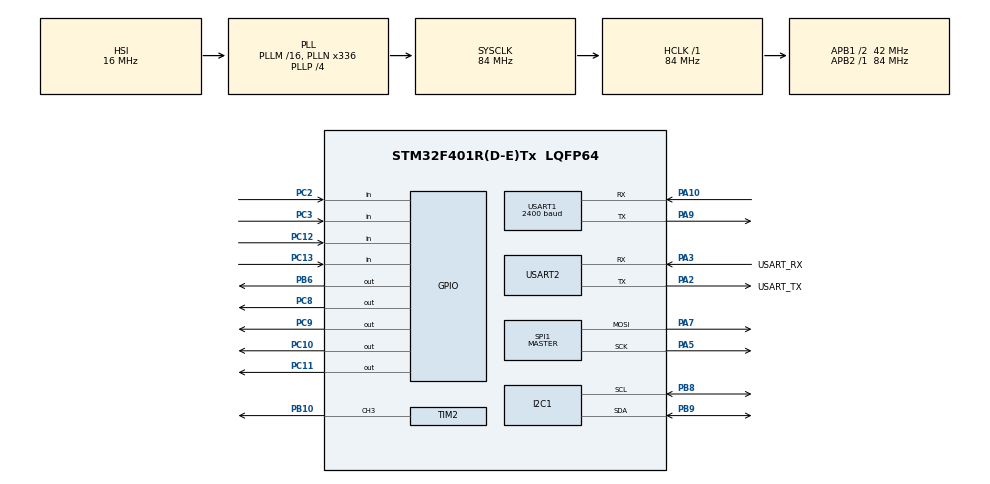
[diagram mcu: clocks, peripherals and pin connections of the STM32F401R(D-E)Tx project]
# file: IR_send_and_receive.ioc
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Dma.Request0=SPI1_TX
Dma.SPI1_TX.0.Direction=DMA_MEMORY_TO_PERIPH
Dma.SPI1_TX.0.FIFOMode=DMA_FIFOMODE_DISABLE
Dma.SPI1_TX.0.Instance=DMA2_Stream3
Dma.SPI1_TX.0.MemDataAlignment=DMA_MDATAALIGN_BYTE
Dma.SPI1_TX.0.MemInc=DMA_MINC_ENABLE
Dma.SPI1_TX.0.Mode=DMA_NORMAL
Dma.SPI1_TX.0.PeriphDataAlignment=DMA_PDATAALIGN_BYTE
Dma.SPI1_TX.0.PeriphInc=DMA_PINC_DISABLE
Dma.SPI1_TX.0.Priority=DMA_PRIORITY_LOW
Mcu.Family=STM32F4
Mcu.Name=STM32F401R(D-E)Tx
Mcu.Package=LQFP64
NVIC.DMA2_Stream3_IRQn=true\:0\:0\:false\:false\:true\:false\:true\:true
NVIC.PriorityGroup=NVIC_PRIORITYGROUP_0
NVIC.TIM1_TRG_COM_TIM11_IRQn=true\:0\:0\:false\:false\:true\:true\:true\:true
NVIC.TIM1_UP_TIM10_IRQn=true\:0\:0\:false\:false\:true\:true\:true\:true
NVIC.TIM5_IRQn=true\:0\:0\:false\:false\:true\:true\:true\:true
NVIC.USART1_IRQn=true\:0\:0\:false\:false\:true\:true\:true\:true
NVIC.USART2_IRQn=true\:0\:0\:false\:false\:true\:true\:true\:true
PA10.Mode=Asynchronous
PA10.Signal=USART1_RX
PA13.GPIO_Label=TMS
PA13.Mode=Serial_Wire
PA13.Signal=SYS_JTMS-SWDIO
PA14.GPIO_Label=TCK
PA14.Mode=Serial_Wire
PA14.Signal=SYS_JTCK-SWCLK
PA2.GPIO_Label=USART_TX
PA2.GPIO_Mode=GPIO_MODE_AF_PP
PA2.GPIO_PuPd=GPIO_NOPULL
PA2.GPIO_Speed=GPIO_SPEED_FREQ_LOW
PA2.Mode=Asynchronous
PA2.Signal=USART2_TX
PA3.GPIO_Label=USART_RX
PA3.GPIO_Mode=GPIO_MODE_AF_PP
PA3.GPIO_PuPd=GPIO_NOPULL
PA3.GPIO_Speed=GPIO_SPEED_FREQ_LOW
PA3.Mode=Asynchronous
PA3.Signal=USART2_RX
PA5.Mode=TX_Only_Simplex_Unidirect_Master
PA5.Signal=SPI1_SCK
PA6.Signal=SPI1_MISO
PA7.Mode=TX_Only_Simplex_Unidirect_Master
PA7.Signal=SPI1_MOSI
PA9.Mode=Asynchronous
PA9.Signal=USART1_TX
PB10.Signal=S_TIM2_CH3
PB3.GPIO_Label=SWO
PB3.Signal=SYS_JTDO-SWO
PB6.Signal=GPIO_Output
PB8.Mode=I2C
PB8.Signal=I2C1_SCL
PB9.Mode=I2C
PB9.Signal=I2C1_SDA
PC10.Signal=GPIO_Output
PC11.Signal=GPIO_Output
PC12.Signal=GPIO_Input
PC13-ANTI_TAMP.Signal=GPIO_Input
PC14-OSC32_IN.Mode=LSE-External-Oscillator
PC14-OSC32_IN.Signal=RCC_OSC32_IN
PC15-OSC32_OUT.Mode=LSE-External-Oscillator
PC15-OSC32_OUT.Signal=RCC_OSC32_OUT
PC2.Signal=GPIO_Input
PC3.Signal=GPIO_Input
PC8.Signal=GPIO_Output
PC9.Signal=GPIO_Output
PH0\ -\ OSC_IN.Mode=HSE-External-Clock-Source
PH0\ -\ OSC_IN.Signal=RCC_OSC_IN
PH1\ -\ OSC_OUT.Mode=HSE-External-Clock-Source
PH1\ -\ OSC_OUT.Signal=RCC_OSC_OUT
ProjectManager.HeapSize=0x200
ProjectManager.StackSize=0x400
ProjectManager.TargetToolchain=STM32CubeIDE
RCC.48MHZClocksFreq_Value=48000000
RCC.AHBFreq_Value=84000000
RCC.APB1CLKDivider=RCC_HCLK_DIV2
RCC.APB1Freq_Value=42000000
RCC.APB1TimFreq_Value=84000000
RCC.APB2Freq_Value=84000000
RCC.APB2TimFreq_Value=84000000
RCC.CortexFreq_Value=84000000
RCC.HCLKFreq_Value=84000000
RCC.HSE_VALUE=8000000
RCC.HSI_VALUE=16000000
RCC.PLLN=336
RCC.PLLP=RCC_PLLP_DIV4
RCC.PLLQ=7
RCC.SYSCLKFreq_VALUE=84000000
RCC.SYSCLKSource=RCC_SYSCLKSOURCE_PLLCLK
RCC.VCOOutputFreq_Value=336000000
SH.S_TIM2_CH3.0=TIM2_CH3,PWM Generation3 CH3
SPI1.BaudRatePrescaler=SPI_BAUDRATEPRESCALER_4
SPI1.Direction=SPI_DIRECTION_2LINES
SPI1.Mode=SPI_MODE_MASTER
SPI1.VirtualType=VM_MASTER
TIM10.Period=3500 - 1
TIM10.Prescaler=10 - 1
TIM11.Period=5000 - 1
TIM11.Prescaler=84 - 1
TIM2.Channel-PWM\ Generation3\ CH3=TIM_CHANNEL_3
TIM2.Period=2210
TIM2.Prescaler=0
TIM2.Pulse-PWM\ Generation3\ CH3=1105
TIM5.Period=2000
TIM5.Prescaler=84
USART1.BaudRate=2400
USART1.VirtualMode=VM_ASYNC
USART2.VirtualMode=VM_ASYNC
VP_TIM10_VS_ClockSourceINT.Mode=Enable_Timer
VP_TIM11_VS_ClockSourceINT.Mode=Enable_Timer
VP_TIM2_VS_ClockSourceINT.Mode=Internal
VP_TIM5_VS_ClockSourceINT.Mode=Internal
board=NUCLEO-F401RE

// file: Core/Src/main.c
/* USER CODE BEGIN Header */
/**
  ******************************************************************************
  * @file           : main.c
  * @brief          : Main program body
  ******************************************************************************
  * @attention
  *
  * Copyright (c) 2024 STMicroelectronics.
  * All rights reserved.
  *
  * This software is licensed under terms that can be found in the LICENSE file
  * in the root directory of this software component.
  * If no LICENSE file comes with this software, it is provided AS-IS.
  *
  ******************************************************************************
  */
/* USER CODE END Header */
#include "main.h"

/* USER CODE BEGIN PD */

#define RCLK_PIN GPIOB, GPIO_PIN_6

#define PIN_C0 GPIOC, GPIO_PIN_11
#define PIN_C1 GPIOC, GPIO_PIN_10
#define PIN_C2 GPIOC, GPIO_PIN_9
#define PIN_C3 GPIOC, GPIO_PIN_8

#define PIN_R0 GPIOC, GPIO_PIN_3
#define PIN_R1 GPIOC, GPIO_PIN_2
#define PIN_R2 GPIOC, GPIO_PIN_13
#define PIN_R3 GPIOC, GPIO_PIN_12

#define DEBOUNCE_TIME 2

/* USER CODE END PD */

I2C_HandleTypeDef hi2c1;

SPI_HandleTypeDef hspi1;
DMA_HandleTypeDef hdma_spi1_tx;

TIM_HandleTypeDef htim2;
TIM_HandleTypeDef htim5;
TIM_HandleTypeDef htim10;
TIM_HandleTypeDef htim11;

UART_HandleTypeDef huart1;
UART_HandleTypeDef huart2;

/* USER CODE BEGIN PV */

char map[16] = "FB73EA62D951C840";

uint32_t keypress[16]; // Keep track of key presses
uint32_t ack[16];	   // Key press acknowledge

int column_index = 0;
char string[64] = {0}; // Where the character will be stored and outputted

char RX_byte, RX_byte2 = 0; // Received bytes
char command = 0; // The received byte copied from RX_byte in the UART rx callback
int new_command = 0; // If 1 a new data has been received

uint8_t BaudElapsedFlag = 0; // Check if the bit has been sent (during baud duration)

int column_index_rec = 0; // Check what column to print

uint8_t matrix[5][2] = {
	{0, 16},
	{0, 8},
	{0, 4},
	{0, 2},
	{0, 1}
};

uint8_t matrix_QM[5][2] = {
	{32, 16},
	{64, 8},
	{69, 4},
	{72, 2},
	{48, 1}
};

uint8_t matrix_A[5][2] = {
	{31, 16},
	{36, 8},
	{68, 4},
	{36, 2},
	{31, 1}
};

uint8_t matrix_B[5][2] = {
	{127, 16},
	{73, 8},
	{73, 4},
	{85, 2},
	{34, 1}
};

uint8_t matrix_C[5][2] = {
	{62, 16},
	{65, 8},
	{65, 4},
	{65, 2},
	{34, 1}
};

uint8_t matrix_D[5][2] = {
	{127, 16},
	{65, 8},
	{65, 4},
	{65, 2},
	{62, 1}
};

uint8_t matrix_E[5][2] = {
	{127, 16},
	{73, 8},
	{73, 4},
	{73, 2},
	{73, 1}
};

uint8_t matrix_F[5][2] = {
	{127, 16},
	{72, 8},
	{72, 4},
	{72, 2},
	{72, 1}
};

uint8_t matrix_0[5][2] = {
	{62, 16},
	{113, 8},
	{73, 4},
	{71, 2},
	{62, 1}
};

uint8_t matrix_1[5][2] = {
	{16, 16},
	{33, 8},
	{127, 4},
	{1, 2},
	{0, 1}
};

uint8_t matrix_2[5][2] = {
	{33, 16},
	{67, 8},
	{69, 4},
	{73, 2},
	{49, 1}
};

uint8_t matrix_3[5][2] = {
	{34, 16},
	{65, 8},
	{73, 4},
	{73, 2},
	{54, 1}
};

uint8_t matrix_4[5][2] = {
	{12, 16},
	{20, 8},
	{36, 4},
	{68, 2},
	{127, 1}
};

uint8_t matrix_5[5][2] = {
	{113, 16},
	{73, 8},
	{73, 4},
	{73, 2},
	{70, 1}
};

uint8_t matrix_6[5][2] = {
	{30, 16},
	{41, 8},
	{73, 4},
	{73, 2},
	{6, 1}
};

uint8_t matrix_7[5][2] = {
	{64, 16},
	{67, 8},
	{68, 4},
	{72, 2},
	{48, 1}
};

uint8_t matrix_8[5][2] = {
	{54, 16},
	{73, 8},
	{73, 4},
	{73, 2},
	{54, 1}
};

uint8_t matrix_9[5][2] = {
	{48, 16},
	{73, 8},
	{73, 4},
	{73, 2},
	{54, 1}
};

uint8_t CharMAP[256][5][2] = {
	{32, 16},
	{64, 8},
	{69, 4},
	{72, 2},
	{48, 1}
};
/* USER CODE END PV */

void SystemClock_Config(void);
static void MX_GPIO_Init(void);
static void MX_DMA_Init(void);
static void MX_USART2_UART_Init(void);
static void MX_TIM2_Init(void);
static void MX_TIM10_Init(void);
static void MX_TIM11_Init(void);
static void MX_USART1_UART_Init(void);
static void MX_I2C1_Init(void);
static void MX_TIM5_Init(void);
static void MX_SPI1_Init(void);

/* USER CODE BEGIN 0 */
void HAL_TIM_PeriodElapsedCallback(TIM_HandleTypeDef *htim) {

	if (htim == &htim10) BaudElapsedFlag = 1;

	if (htim == &htim11) {
		// ---------- Row Pins reading -------------- //
		//Reading operation before the setting of the column

		if (HAL_GPIO_ReadPin(PIN_R0) == GPIO_PIN_SET) keypress[4*column_index] = 0;
		else keypress[4*column_index]++; //A "software filter", if this value is bigger than 2 is not a debounce phenomena

		if (HAL_GPIO_ReadPin(PIN_R1) == GPIO_PIN_SET) keypress[4*column_index+1] = 0;
		else keypress[4*column_index+1]++;

		if (HAL_GPIO_ReadPin(PIN_R2) == GPIO_PIN_SET) keypress[4*column_index+2] = 0;
		else keypress[4*column_index+2]++;

		if (HAL_GPIO_ReadPin(PIN_R3) == GPIO_PIN_SET) keypress[4*column_index+3] = 0;
		else keypress[4*column_index+3]++;

		// --------------------------------------- //
		column_index = (++column_index) % 4;

		HAL_GPIO_WritePin(PIN_C0, (column_index == 0) ? GPIO_PIN_SET : GPIO_PIN_RESET);
		HAL_GPIO_WritePin(PIN_C1, (column_index == 1) ? GPIO_PIN_SET : GPIO_PIN_RESET);
		HAL_GPIO_WritePin(PIN_C2, (column_index == 2) ? GPIO_PIN_SET : GPIO_PIN_RESET);
		HAL_GPIO_WritePin(PIN_C3, (column_index == 3) ? GPIO_PIN_SET : GPIO_PIN_RESET);

	}

	if (htim == &htim5) {
		HAL_GPIO_WritePin(GPIOB, GPIO_PIN_6, GPIO_PIN_SET); // When the communication is finished, the
															// values are allowed to be written in the LED Matrix
		if (column_index_rec > 4)  // if we have reached the last column
			column_index_rec = 0;  // return to the first column
		else column_index_rec++;	// switch to the next column

		HAL_GPIO_WritePin(GPIOB, GPIO_PIN_6, GPIO_PIN_RESET); // We need to bring this signal back in order to not mix signals
		HAL_SPI_Transmit_DMA(&hspi1, matrix[column_index_rec], 2); // Send the column of the character
	}
}

void UART_IR_sendByte(char byte) {
	HAL_TIM_Base_Start_IT(&htim10); // Start the timer10 to control the baudrate
	HAL_TIM_PWM_Start(&htim2, TIM_CHANNEL_3); // send start bit
	BaudElapsedFlag = 0;
	while (BaudElapsedFlag == 0); // Wait the correct baudrate elapse time
	for (int bit_ctr = 0; bit_ctr < 8; bit_ctr++) { // for each bit of the data byte
		if ((byte & (0x01<<bit_ctr)) == 0) // select the correct bit, if is 0 send a 1 with the PWM Start
			HAL_TIM_PWM_Start(&htim2, TIM_CHANNEL_3); // send a 0
		else HAL_TIM_PWM_Stop(&htim2, TIM_CHANNEL_3); // send a 1

		BaudElapsedFlag = 0;
		while (BaudElapsedFlag == 0); // Wait the correct baudrate elapse time
	}

	HAL_TIM_PWM_Stop(&htim2, TIM_CHANNEL_3); // stop bit
	while (BaudElapsedFlag == 0);
	HAL_TIM_Base_Stop_IT(&htim10); // Stop the timer10
	BaudElapsedFlag = 0;
}

void HAL_UART_RxCpltCallback(UART_HandleTypeDef *huart) {
	if (huart == &huart1) {
		HAL_UART_Receive_IT(&huart1, &RX_byte, 1);
		command = RX_byte;
		new_command = 1; //the data has been received, let the main allow the showletter function
	}

	if (huart == &huart2) {
		HAL_UART_Receive_IT(&huart2, &RX_byte2, 1);
		command = RX_byte2;
		new_command = 1;
	}
}

void initCharMAP() {
	for (int i = 0; i < 256; i++)
		memcpy(CharMAP[i], matrix_QM, sizeof(matrix_QM)); // Initialize the ASCII character, if is not one of the list below, print a question mark

	memcpy(CharMAP['0'], matrix_0, sizeof(matrix_0));
	memcpy(CharMAP['1'], matrix_1, sizeof(matrix_1));
	memcpy(CharMAP['2'], matrix_2, sizeof(matrix_2));
	memcpy(CharMAP['3'], matrix_3, sizeof(matrix_3));
	memcpy(CharMAP['4'], matrix_4, sizeof(matrix_4));
	memcpy(CharMAP['5'], matrix_5, sizeof(matrix_5));
	memcpy(CharMAP['6'], matrix_6, sizeof(matrix_6));
	memcpy(CharMAP['7'], matrix_7, sizeof(matrix_7));
	memcpy(CharMAP['8'], matrix_8, sizeof(matrix_8));
	memcpy(CharMAP['9'], matrix_9, sizeof(matrix_9));
	memcpy(CharMAP['A'], matrix_A, sizeof(matrix_A));
	memcpy(CharMAP['B'], matrix_B, sizeof(matrix_B));
	memcpy(CharMAP['C'], matrix_C, sizeof(matrix_C));
	memcpy(CharMAP['D'], matrix_D, sizeof(matrix_D));
	memcpy(CharMAP['E'], matrix_E, sizeof(matrix_E));
	memcpy(CharMAP['F'], matrix_F, sizeof(matrix_F));
}

void showletter(char digit) {
	memcpy(matrix, CharMAP[(uint8_t) digit], sizeof(matrix)); // Copy this value in "matrix", this variable will be used in the SPI send
}
/* USER CODE END 0 */

int main(void)
{

  /* MCU Configuration--------------------------------------------------------*/

  /* Reset of all peripherals, Initializes the Flash interface and the Systick. */
  HAL_Init();

  /* Configure the system clock */
  SystemClock_Config();

  /* Initialize all configured peripherals */
  MX_GPIO_Init();
  MX_DMA_Init();
  MX_USART2_UART_Init();
  MX_TIM2_Init();
  MX_TIM10_Init();
  MX_TIM11_Init();
  MX_USART1_UART_Init();
  MX_I2C1_Init();
  MX_TIM5_Init();
  MX_SPI1_Init();
  /* USER CODE BEGIN 2 */
  //HAL_TIM_Base_Start(&htim2);	//PWM timer
  //HAL_TIM_Base_Start_IT(&htim10); // uart send timer
  HAL_TIM_Base_Start_IT(&htim11); // Keyboard timer
  HAL_TIM_Base_Start_IT(&htim5); // SPI send timer
  initCharMAP();
  HAL_UART_Receive_IT(&huart1, &RX_byte, 1); // Prepare the UART1 to receive data
  HAL_UART_Receive_IT(&huart2, &RX_byte2, 1);
  /* USER CODE END 2 */

  /* Infinite loop */
  /* USER CODE BEGIN WHILE */
  while (1) {
	  if (new_command) { // If the IR UART receive callback has received something
		  showletter(command); // Copy the received byte (RX_byte) into "matrix" that will be sent through SPI to the LED matrix
		  new_command = 0;
	  }
	  for (int i = 0; i < 16; i++) {
			if (keypress[i] > DEBOUNCE_TIME) {
				if (ack[i] == 0) {
					int string_length = snprintf(string, sizeof(string), "%c\n", map[i]);
					HAL_UART_Transmit(&huart2, string, string_length, 1); // Do not use DMA because if we press 2 contemporary buttons the second is discarded and print only one
					UART_IR_sendByte(map[i]);
					ack[i] = 1;
				}
			}
			else ack[i] = 0;
		}
    /* USER CODE END WHILE */

  }
}

void SystemClock_Config(void)
{
  RCC_OscInitTypeDef RCC_OscInitStruct = {0};
  RCC_ClkInitTypeDef RCC_ClkInitStruct = {0};

  /** Configure the main internal regulator output voltage
  */
  __HAL_RCC_PWR_CLK_ENABLE();
  __HAL_PWR_VOLTAGESCALING_CONFIG(PWR_REGULATOR_VOLTAGE_SCALE2);

  /** Initializes the RCC Oscillators according to the specified parameters
  * in the RCC_OscInitTypeDef structure.
  */
  RCC_OscInitStruct.OscillatorType = RCC_OSCILLATORTYPE_HSI;
  RCC_OscInitStruct.HSIState = RCC_HSI_ON;
  RCC_OscInitStruct.HSICalibrationValue = RCC_HSICALIBRATION_DEFAULT;
  RCC_OscInitStruct.PLL.PLLState = RCC_PLL_ON;
  RCC_OscInitStruct.PLL.PLLSource = RCC_PLLSOURCE_HSI;
  RCC_OscInitStruct.PLL.PLLM = 16;
  RCC_OscInitStruct.PLL.PLLN = 336;
  RCC_OscInitStruct.PLL.PLLP = RCC_PLLP_DIV4;
  RCC_OscInitStruct.PLL.PLLQ = 7;
  if (HAL_RCC_OscConfig(&RCC_OscInitStruct) != HAL_OK)
  {
    Error_Handler();
  }

  /** Initializes the CPU, AHB and APB buses clocks
  */
  RCC_ClkInitStruct.ClockType = RCC_CLOCKTYPE_HCLK|RCC_CLOCKTYPE_SYSCLK
                              |RCC_CLOCKTYPE_PCLK1|RCC_CLOCKTYPE_PCLK2;
  RCC_ClkInitStruct.SYSCLKSource = RCC_SYSCLKSOURCE_PLLCLK;
  RCC_ClkInitStruct.AHBCLKDivider = RCC_SYSCLK_DIV1;
  RCC_ClkInitStruct.APB1CLKDivider = RCC_HCLK_DIV2;
  RCC_ClkInitStruct.APB2CLKDivider = RCC_HCLK_DIV1;

  if (HAL_RCC_ClockConfig(&RCC_ClkInitStruct, FLASH_LATENCY_2) != HAL_OK)
  {
    Error_Handler();
  }
}

static void MX_I2C1_Init(void)
{

  hi2c1.Instance = I2C1;
  hi2c1.Init.ClockSpeed = 100000;
  hi2c1.Init.DutyCycle = I2C_DUTYCYCLE_2;
  hi2c1.Init.OwnAddress1 = 0;
  hi2c1.Init.AddressingMode = I2C_ADDRESSINGMODE_7BIT;
  hi2c1.Init.DualAddressMode = I2C_DUALADDRESS_DISABLE;
  hi2c1.Init.OwnAddress2 = 0;
  hi2c1.Init.GeneralCallMode = I2C_GENERALCALL_DISABLE;
  hi2c1.Init.NoStretchMode = I2C_NOSTRETCH_DISABLE;
  if (HAL_I2C_Init(&hi2c1) != HAL_OK)
  {
    Error_Handler();
  }

}

static void MX_SPI1_Init(void)
{

  /* SPI1 parameter configuration*/
  hspi1.Instance = SPI1;
  hspi1.Init.Mode = SPI_MODE_MASTER;
  hspi1.Init.Direction = SPI_DIRECTION_2LINES;
  hspi1.Init.DataSize = SPI_DATASIZE_8BIT;
  hspi1.Init.CLKPolarity = SPI_POLARITY_LOW;
  hspi1.Init.CLKPhase = SPI_PHASE_1EDGE;
  hspi1.Init.NSS = SPI_NSS_SOFT;
  hspi1.Init.BaudRatePrescaler = SPI_BAUDRATEPRESCALER_4;
  hspi1.Init.FirstBit = SPI_FIRSTBIT_MSB;
  hspi1.Init.TIMode = SPI_TIMODE_DISABLE;
  hspi1.Init.CRCCalculation = SPI_CRCCALCULATION_DISABLE;
  hspi1.Init.CRCPolynomial = 10;
  if (HAL_SPI_Init(&hspi1) != HAL_OK)
  {
    Error_Handler();
  }

}

static void MX_TIM2_Init(void)
{

  TIM_ClockConfigTypeDef sClockSourceConfig = {0};
  TIM_MasterConfigTypeDef sMasterConfig = {0};
  TIM_OC_InitTypeDef sConfigOC = {0};

  htim2.Instance = TIM2;
  htim2.Init.Prescaler = 0;
  htim2.Init.CounterMode = TIM_COUNTERMODE_UP;
  htim2.Init.Period = 2210;
  htim2.Init.ClockDivision = TIM_CLOCKDIVISION_DIV1;
  htim2.Init.AutoReloadPreload = TIM_AUTORELOAD_PRELOAD_DISABLE;
  if (HAL_TIM_Base_Init(&htim2) != HAL_OK)
  {
    Error_Handler();
  }
  sClockSourceConfig.ClockSource = TIM_CLOCKSOURCE_INTERNAL;
  if (HAL_TIM_ConfigClockSource(&htim2, &sClockSourceConfig) != HAL_OK)
  {
    Error_Handler();
  }
  if (HAL_TIM_PWM_Init(&htim2) != HAL_OK)
  {
    Error_Handler();
  }
  sMasterConfig.MasterOutputTrigger = TIM_TRGO_RESET;
  sMasterConfig.MasterSlaveMode = TIM_MASTERSLAVEMODE_DISABLE;
  if (HAL_TIMEx_MasterConfigSynchronization(&htim2, &sMasterConfig) != HAL_OK)
  {
    Error_Handler();
  }
  sConfigOC.OCMode = TIM_OCMODE_PWM1;
  sConfigOC.Pulse = 1105;
  sConfigOC.OCPolarity = TIM_OCPOLARITY_HIGH;
  sConfigOC.OCFastMode = TIM_OCFAST_DISABLE;
  if (HAL_TIM_PWM_ConfigChannel(&htim2, &sConfigOC, TIM_CHANNEL_3) != HAL_OK)
  {
    Error_Handler();
  }
  HAL_TIM_MspPostInit(&htim2);

}

static void MX_TIM5_Init(void)
{

  TIM_ClockConfigTypeDef sClockSourceConfig = {0};
  TIM_MasterConfigTypeDef sMasterConfig = {0};

  htim5.Instance = TIM5;
  htim5.Init.Prescaler = 84;
  htim5.Init.CounterMode = TIM_COUNTERMODE_UP;
  htim5.Init.Period = 2000;
  htim5.Init.ClockDivision = TIM_CLOCKDIVISION_DIV1;
  htim5.Init.AutoReloadPreload = TIM_AUTORELOAD_PRELOAD_DISABLE;
  if (HAL_TIM_Base_Init(&htim5) != HAL_OK)
  {
    Error_Handler();
  }
  sClockSourceConfig.ClockSource = TIM_CLOCKSOURCE_INTERNAL;
  if (HAL_TIM_ConfigClockSource(&htim5, &sClockSourceConfig) != HAL_OK)
  {
    Error_Handler();
  }
  sMasterConfig.MasterOutputTrigger = TIM_TRGO_RESET;
  sMasterConfig.MasterSlaveMode = TIM_MASTERSLAVEMODE_DISABLE;
  if (HAL_TIMEx_MasterConfigSynchronization(&htim5, &sMasterConfig) != HAL_OK)
  {
    Error_Handler();
  }

}

static void MX_TIM10_Init(void)
{

  htim10.Instance = TIM10;
  htim10.Init.Prescaler = 10 - 1;
  htim10.Init.CounterMode = TIM_COUNTERMODE_UP;
  htim10.Init.Period = 3500 - 1;
  htim10.Init.ClockDivision = TIM_CLOCKDIVISION_DIV1;
  htim10.Init.AutoReloadPreload = TIM_AUTORELOAD_PRELOAD_DISABLE;
  if (HAL_TIM_Base_Init(&htim10) != HAL_OK)
  {
    Error_Handler();
  }

}

static void MX_TIM11_Init(void)
{

  htim11.Instance = TIM11;
  htim11.Init.Prescaler = 84 - 1;
  htim11.Init.CounterMode = TIM_COUNTERMODE_UP;
  htim11.Init.Period = 5000 - 1;
  htim11.Init.ClockDivision = TIM_CLOCKDIVISION_DIV1;
  htim11.Init.AutoReloadPreload = TIM_AUTORELOAD_PRELOAD_DISABLE;
  if (HAL_TIM_Base_Init(&htim11) != HAL_OK)
  {
    Error_Handler();
  }

}

static void MX_USART1_UART_Init(void)
{

  huart1.Instance = USART1;
  huart1.Init.BaudRate = 2400;
  huart1.Init.WordLength = UART_WORDLENGTH_8B;
  huart1.Init.StopBits = UART_STOPBITS_1;
  huart1.Init.Parity = UART_PARITY_NONE;
  huart1.Init.Mode = UART_MODE_TX_RX;
  huart1.Init.HwFlowCtl = UART_HWCONTROL_NONE;
  huart1.Init.OverSampling = UART_OVERSAMPLING_16;
  if (HAL_UART_Init(&huart1) != HAL_OK)
  {
    Error_Handler();
  }

}

static void MX_USART2_UART_Init(void)
{

  huart2.Instance = USART2;
  huart2.Init.BaudRate = 115200;
  huart2.Init.WordLength = UART_WORDLENGTH_8B;
  huart2.Init.StopBits = UART_STOPBITS_1;
  huart2.Init.Parity = UART_PARITY_NONE;
  huart2.Init.Mode = UART_MODE_TX_RX;
  huart2.Init.HwFlowCtl = UART_HWCONTROL_NONE;
  huart2.Init.OverSampling = UART_OVERSAMPLING_16;
  if (HAL_UART_Init(&huart2) != HAL_OK)
  {
    Error_Handler();
  }

}

static void MX_DMA_Init(void)
{

  /* DMA controller clock enable */
  __HAL_RCC_DMA2_CLK_ENABLE();

  /* DMA interrupt init */
  /* DMA2_Stream3_IRQn interrupt configuration */
  HAL_NVIC_SetPriority(DMA2_Stream3_IRQn, 0, 0);
  HAL_NVIC_EnableIRQ(DMA2_Stream3_IRQn);

}

static void MX_GPIO_Init(void)
{
  GPIO_InitTypeDef GPIO_InitStruct = {0};

  /* GPIO Ports Clock Enable */
  __HAL_RCC_GPIOC_CLK_ENABLE();
  __HAL_RCC_GPIOH_CLK_ENABLE();
  __HAL_RCC_GPIOA_CLK_ENABLE();
  __HAL_RCC_GPIOB_CLK_ENABLE();

  /*Configure GPIO pin Output Level */
  HAL_GPIO_WritePin(GPIOC, GPIO_PIN_8|GPIO_PIN_9|GPIO_PIN_10|GPIO_PIN_11, GPIO_PIN_RESET);

  /*Configure GPIO pin Output Level */
  HAL_GPIO_WritePin(GPIOB, GPIO_PIN_6, GPIO_PIN_RESET);

  /*Configure GPIO pins : PC13 PC2 PC3 PC12 */
  GPIO_InitStruct.Pin = GPIO_PIN_13|GPIO_PIN_2|GPIO_PIN_3|GPIO_PIN_12;
  GPIO_InitStruct.Mode = GPIO_MODE_INPUT;
  GPIO_InitStruct.Pull = GPIO_NOPULL;
  HAL_GPIO_Init(GPIOC, &GPIO_InitStruct);

  /*Configure GPIO pins : PC8 PC9 PC10 PC11 */
  GPIO_InitStruct.Pin = GPIO_PIN_8|GPIO_PIN_9|GPIO_PIN_10|GPIO_PIN_11;
  GPIO_InitStruct.Mode = GPIO_MODE_OUTPUT_PP;
  GPIO_InitStruct.Pull = GPIO_NOPULL;
  GPIO_InitStruct.Speed = GPIO_SPEED_FREQ_LOW;
  HAL_GPIO_Init(GPIOC, &GPIO_InitStruct);

  /*Configure GPIO pin : PB6 */
  GPIO_InitStruct.Pin = GPIO_PIN_6;
  GPIO_InitStruct.Mode = GPIO_MODE_OUTPUT_PP;
  GPIO_InitStruct.Pull = GPIO_NOPULL;
  GPIO_InitStruct.Speed = GPIO_SPEED_FREQ_LOW;
  HAL_GPIO_Init(GPIOB, &GPIO_InitStruct);

}

void Error_Handler(void)
{
  __disable_irq();
  while (1)
  {
  }
}
